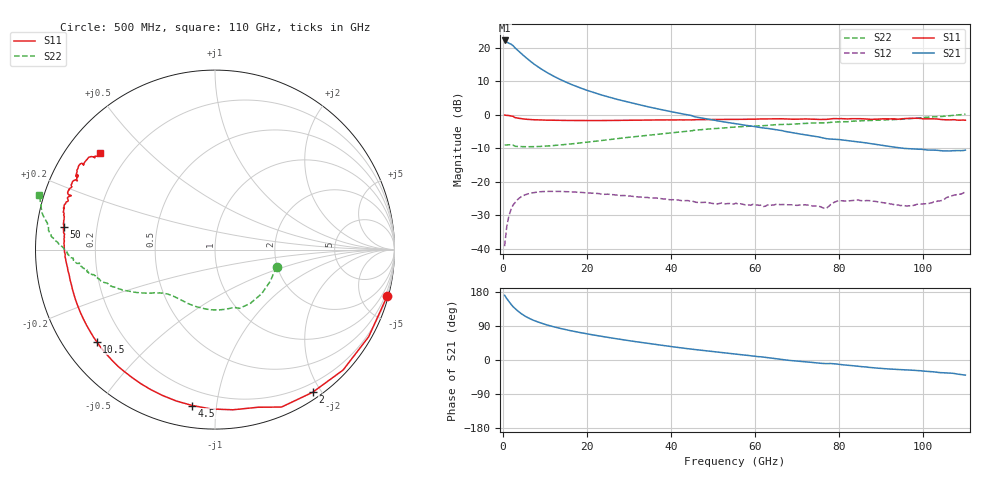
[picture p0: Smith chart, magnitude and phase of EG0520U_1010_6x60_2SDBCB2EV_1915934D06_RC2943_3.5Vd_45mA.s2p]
!File name = EG0520U_1010_6x60_2SDBCB2EV_1915934D06_RC2943_3.5Vd_45mA.s2p
!Base file name = EG0520U_1010_6x60_2SDBCB2EV_1915934D06_RC2943
!Date = 8/23/2019
!Time = 1:04 PM
!Test duration(min) = 0.15
!Test = S-Parameters
!MPTS version = 8.91.5
!State File = C:\Data\PNA\20190821205423\S-Parameters_2019-08-23.sta
!Cal File =
!ComputerName = CMPE-LAB-6
!Comments =
!Attenuation = 0
!Z0 = 50
!Input Power(dBm) = -13.00
!Device ID = EG0520U_1010_6x60_2SDBCB2EV
!Row = 29
!Column = 43
!Technology = QPHT09
!Lot/Wafer = 1915934D06
!Gate Size = 360
!Mask = EG0520
!Cal Standards = GaAs BCB
!Cal Kit = EG2306
!Job Number = 20190821205423
!Device Type = FET
!set_Vg(v) = -1.500
!set_Vd(v) = 3.500
!set_Vd(mA) = 45.000
!file_name = EG0520U_1010_6x60_2SDBCB2EV_1915934D06_RC2943_3.5Vd_45mA.s2p
!Vd(V) = 3.500
!Vd(mA) = 45.205
!Vg(V) = -0.481
!Vg(mA) = -0.002
# GHz  S  DB  R  50
!%	Freq(GHz)  s11(dB)  s11(deg)  s21(dB)  s21(deg)  s12(dB)  s12(deg)  s22(dB)  s22(deg)
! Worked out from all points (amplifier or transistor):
!   220 points, 500 MHz to 110 GHz, reference 50 ohm
!   highest |S21| = 22.3 dB at 500 MHz (marker M1)
!   |S21| within 3 dB of that: start of sweep to 3.664 GHz
!   unconditionally stable (mu >= 1): 31.78 GHz to 96.47 GHz
!   at 18.5 GHz: K = 0.57, MSG = 15.6 dB, |S12| = -23.1 dB
!   at 55.5 GHz: K = 1.58, MAG = 7.4 dB, |S12| = -26.4 dB
!   at 110 GHz: K = -1.24, MSG = 6.2 dB, |S12| = -23.0 dB
!   S11 on the Smith chart (normalised r, x): 500 MHz: 0.17, -7.63; 2 GHz: 0.09, -1.89; 4.5 GHz: 0.11, -0.86; 10.5 GHz: 0.10, -0.34; 50 GHz: 0.08, +0.07; 110 GHz: 0.10, +0.36
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0.5  -0.05 -14.9  22.26 170.9  -39.23 81.1  -8.97 -15.6
1  -0.14 -29.5  21.81 162.3  -33.46 73.4  -9.00 -29.9
1.5  -0.18 -43.2  21.44 154.7  -30.32 65.9  -8.93 -43.5
2  -0.33 -55.6  21.17 147.4  -28.32 59.1  -8.91 -56.7
2.5  -0.42 -67.1  20.71 140.9  -26.95 53.2  -9.00 -67.3
3  -0.82 -74.8  20.02 135.7  -26.16 48.9  -9.39 -71.6
3.5  -0.93 -83.6  19.45 130.6  -25.41 44.4  -9.43 -79.6
4.5  -1.13 -98.3  18.30 121.9  -24.43 37.1  -9.47 -93.0
5.5  -1.27 -109.9  17.20 114.9  -23.83 31.4  -9.52 -103.1
7  -1.42 -123.0  15.67 106.5  -23.32 24.9  -9.49 -114.0
8.5  -1.49 -132.5  14.32 100.0  -23.02 20.3  -9.45 -120.9
10.5  -1.56 -142.2  12.73 92.7  -22.86 15.2  -9.31 -127.9
14  -1.64 -153.6  10.42 82.7  -22.89 9.4  -8.94 -135.2
19  -1.68 -163.7  7.83 71.2  -23.19 4.3  -8.29 -141.0
26.5  -1.64 -172.9  4.90 57.1  -23.87 1.0  -7.20 -146.3
37  -1.50 178.9  1.77 39.8  -24.89 0.9  -5.74 -152.8
50  -1.40 171.4  -1.52 22.2  -26.49 5.2  -4.11 -161.5
55.5  -1.33 168.4  -2.63 15.5  -26.38 6.4  -3.61 -164.6
73.5  -1.27 159.9  -6.27 -6.3  -27.18 6.9  -2.41 -173.1
92  -1.19 151.5  -9.43 -23.9  -26.59 -6.7  -1.44 179.2
101  -1.18 147.1  -10.49 -30.0  -26.59 -1.8  -0.67 174.2
110  -1.58 140.0  -10.53 -39.9  -23.00 -12.6  0.23 162.9
